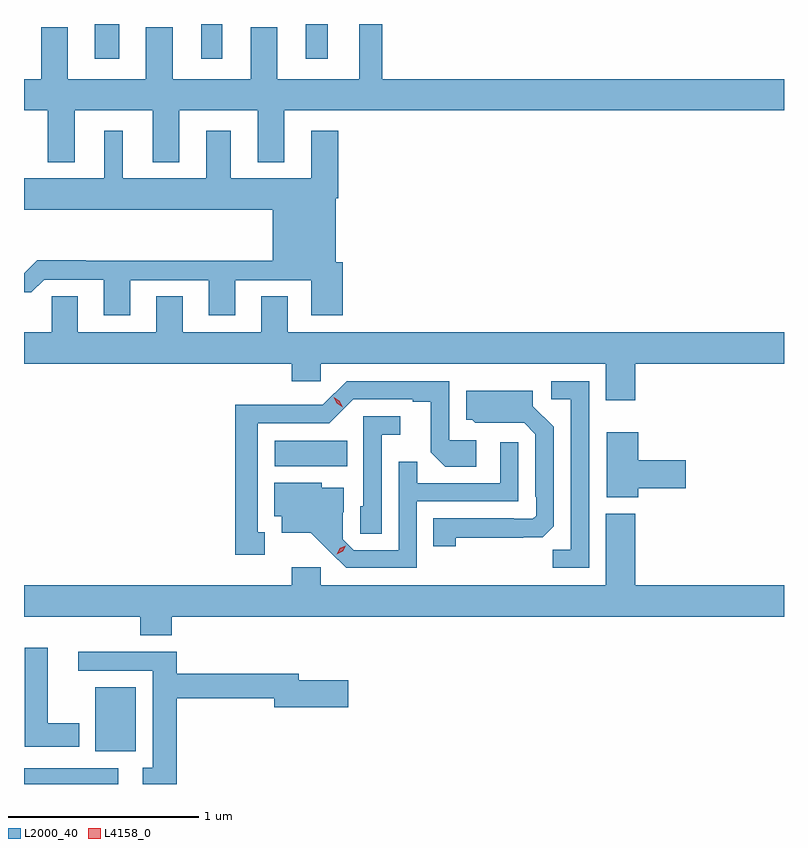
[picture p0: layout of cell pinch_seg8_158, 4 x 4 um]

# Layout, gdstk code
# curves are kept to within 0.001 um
import gdstk
lib = gdstk.Library(unit=1e-6, precision=1e-09)
def R(c, l, rs):  # rectangles x0, y0, x1, y1
    for r in rs: c.add(gdstk.rectangle(r[:2], r[2:], *l))
def P(c, l, *ps):  # polygons
    for p in ps: c.add(gdstk.Polygon(p, *l))
L2000_40 = (2000, 40)
L4158_0 = (4158, 0)

pinch_seg8_158 = lib.new_cell('pinch_seg8_158')
R(pinch_seg8_158, L2000_40, [(707.705,1155.579,708.202,1155.663), (708.08,1155.752,708.292,1156.087), (709.026,1157.252,709.406,1157.386), (708.077,1159.395,708.205,1159.579), (708.638,1159.395,708.748,1159.579), (709.187,1159.395,709.303,1159.579)])
P(pinch_seg8_158, L2000_40, [(707.971,1159.124),(708.383,1159.124),(708.383,1158.851),(708.523,1158.851),(708.523,1159.124),(708.935,1159.124),(708.935,1158.851),(709.075,1158.851),(709.075,1159.124),(711.705,1159.124),(711.705,1159.288),(709.591,1159.288),(709.591,1159.579),(709.469,1159.579),(709.469,1159.288),(709.039,1159.288),(709.039,1159.561),(708.899,1159.561),(708.899,1159.288),(708.487,1159.288),(708.487,1159.561),(708.347,1159.561),(708.347,1159.288),(707.935,1159.288),(707.935,1159.561),(707.795,1159.561),(707.795,1159.288),(707.705,1159.288),(707.705,1159.124),(707.831,1159.124),(707.831,1158.851),(707.971,1158.851)],
  [(708.265,1158.231),(708.677,1158.231),(708.677,1158.045),(708.817,1158.045),(708.817,1158.231),(709.217,1158.231),(709.217,1158.045),(709.382,1158.045),(709.382,1158.324),(709.345,1158.324),(709.345,1158.662),(709.358,1158.662),(709.358,1159.018),(709.217,1159.018),(709.217,1158.766),(708.793,1158.766),(708.793,1159.018),(708.665,1159.018),(708.665,1158.766),(708.226,1158.766),(708.226,1159.018),(708.128,1159.018),(708.128,1158.766),(707.705,1158.766),(707.705,1158.602),(709.013,1158.602),(709.013,1158.332),(708.029,1158.332),(708.029,1158.335),(707.774,1158.335),(707.705,1158.266),(707.705,1158.167),(707.744,1158.167),(707.811,1158.234),(708.125,1158.234),(708.125,1158.045),(708.265,1158.045)],
  [(710.921,1157.792),(711.705,1157.792),(711.705,1157.956),(709.093,1157.956),(709.093,1158.146),(708.953,1158.146),(708.953,1157.956),(708.541,1157.956),(708.541,1158.146),(708.401,1158.146),(708.401,1157.956),(707.989,1157.956),(707.989,1158.146),(707.85,1158.146),(707.85,1157.956),(707.705,1157.956),(707.705,1157.792),(709.115,1157.792),(709.115,1157.699),(709.266,1157.699),(709.266,1157.792),(710.768,1157.792),(710.768,1157.598),(710.921,1157.598)],
  [(710.679,1157.7),(710.481,1157.7),(710.481,1157.604),(710.583,1157.604),(710.583,1156.811),(710.488,1156.811),(710.488,1156.716),(710.679,1156.716)],
  [(708.973,1156.905),(708.934,1156.905),(708.934,1157.478),(709.311,1157.478),(709.437,1157.604),(709.751,1157.604),(709.751,1157.592),(709.845,1157.592),(709.845,1157.324),(709.921,1157.248),(710.086,1157.248),(710.086,1157.388),(709.944,1157.388),(709.944,1157.7),(709.404,1157.7),(709.278,1157.574),(709.056,1157.574),(709.056,1157.576),(708.816,1157.576),(708.816,1156.785),(708.973,1156.785)],
  [(709.977,1156.876),(710.434,1156.877),(710.493,1156.936),(710.493,1157.458),(710.383,1157.568),(710.383,1157.65),(710.033,1157.65),(710.033,1157.496),(710.064,1157.496),(710.08,1157.48),(710.337,1157.481),(710.397,1157.421),(710.397,1157.092),(710.4,1157.092),(710.4,1156.992),(710.382,1156.974),(710.282,1156.974),(710.282,1156.977),(709.858,1156.977),(709.858,1156.83),(709.977,1156.83)],
  [(709.587,1157.417),(709.684,1157.417),(709.684,1157.514),(709.491,1157.514),(709.491,1157.04),(709.476,1157.04),(709.476,1156.897),(709.587,1156.897)],
  [(710.938,1157.135),(711.187,1157.135),(711.187,1157.282),(710.938,1157.282),(710.938,1157.431),(710.771,1157.431),(710.771,1157.087),(710.938,1157.087)],
  [(709.773,1157.067),(710.307,1157.067),(710.307,1157.377),(710.211,1157.377),(710.211,1157.163),(709.775,1157.163),(709.775,1157.276),(709.677,1157.276),(709.677,1156.809),(709.44,1156.809),(709.383,1156.866),(709.383,1157.008),(709.387,1157.008),(709.387,1157.137),(709.272,1157.137),(709.272,1157.164),(709.022,1157.164),(709.022,1156.988),(709.061,1156.988),(709.061,1156.901),(709.213,1156.901),(709.4,1156.716),(709.773,1156.716)],
  [(708.482,1156.46),(711.705,1156.46),(711.705,1156.624),(710.921,1156.624),(710.921,1157.002),(710.768,1157.002),(710.768,1156.624),(709.266,1156.624),(709.266,1156.72),(709.115,1156.72),(709.115,1156.624),(707.705,1156.624),(707.705,1156.46),(708.317,1156.46),(708.317,1156.361),(708.482,1156.361)],
  [(707.995,1155.898),(707.83,1155.898),(707.83,1156.297),(707.708,1156.297),(707.708,1155.776),(707.995,1155.776)],
  [(708.509,1156.03),(709.022,1156.03),(709.022,1155.983),(709.411,1155.983),(709.411,1156.125),(709.15,1156.125),(709.15,1156.159),(708.509,1156.159),(708.509,1156.274),(707.991,1156.274),(707.991,1156.176),(708.383,1156.176),(708.383,1155.664),(708.329,1155.664),(708.329,1155.579),(708.509,1155.579)])
P(pinch_seg8_158, L4158_0, [(709.351,1156.788),(709.351,1156.789),(709.368,1156.819),(709.398,1156.834),(709.399,1156.834),(709.399,1156.834),(709.382,1156.804),(709.351,1156.788)],
  [(709.382,1157.562),(709.35,1157.582),(709.334,1157.615),(709.334,1157.615),(709.334,1157.615),(709.365,1157.596),(709.382,1157.563),(709.382,1157.562)])

lib.write_gds('pinch_seg8_158.gds')
